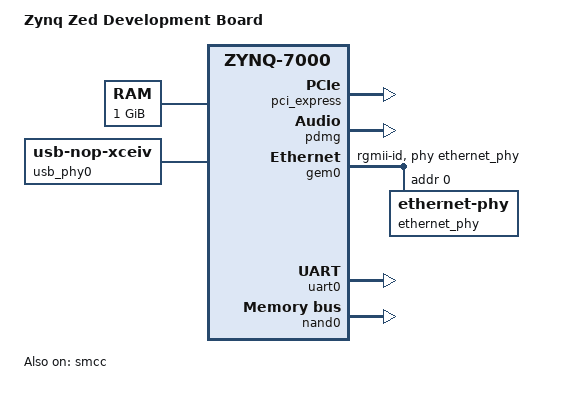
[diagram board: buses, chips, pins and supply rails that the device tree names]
/*
 *  ApisSys AV108 Device Tree
 *  2014.2 Release 
 *
 */

/dts-v1/;
/include/ "zynq-7000.dtsi"

/ {
	model = "Zynq Zed Development Board";
	compatible = "xlnx,zynq-zed", "xlnx,zynq-7000";

	aliases {
		ethernet0 = &gem0;
		/*ethernet1 = &ps7_ethernet_1;*/
		i2c0 = &i2c0;
		i2c1 = &i2c0;
		serial0 = &uart0;
	};

	memory {
		device_type = "memory";
		reg = <0x0 0x40000000>;
	};

	chosen {
		bootargs = "console=ttyPS0,115200 root=/dev/ram rw earlyprintk";
		linux,stdout-path = &uart0;
		stdout-path = &uart0;
	};

	pci_express: axi-pcie@50000000 {
		#address-cells = <3>;
		#size-cells = <2>;
		#interrupt-cells = <1>;
		compatible = "xlnx,axi-pcie-host-1.00.a";
		reg = < 0x50000000 0x10000000 >;
		device_type = "pci";
		interrupt-parent = <&intc>;
		interrupts = < 0 29 4 >;
		interrupt-map-mask = <0 0 0 7>;
		interrupt-map = <0 0 0 1 &pcie_intc 1>,
										<0 0 0 2 &pcie_intc 2>,
										<0 0 0 3 &pcie_intc 3>,
										<0 0 0 4 &pcie_intc 4>;
		ranges = < 0x02000000 0 0x60000000 0x60000000 0 0x10000000 >;

		pcie_intc: interrupt-controller {
			interrupt-controller;
			#address-cells = <0>;
			#interrupt-cells = <1>;
		};
	};

	usb_phy0: phy0 {
		compatible = "usb-nop-xceiv";
		#phy-cells = <0>;
	};
	pdmg: pdmg@0x80400000 {
		compatible = "elt,pdmg";
		reg = <0x83C20000 0x4100 0x80400000 0x100 0x80410000 0x100 >;
		interrupt-parent = <&intc>;
		interrupts = <0 32 4>, <0 33 4>;
	};
};

&clkc {
	ps-clk-frequency = <33333333>;
};

&gem0 {
	status = "okay";
	phy-mode = "rgmii-id";
	phy-handle = <&ethernet_phy>;

	ethernet_phy: ethernet-phy@0 {
		reg = <0>;
	};
};

&uart0 {
	status = "okay";
};

&smcc {
        status = "okay";
        arm,addr25 = <0x0>;
        arm,nor-chip-sel0 = <0x0>;
        arm,nor-chip-sel1 = <0x0>;
        arm,sram-chip-sel0 = <0x0>;
        arm,sram-chip-sel1 = <0x0>;
};

&nand0 {
        status = "okay";
        arm,nand-cycle-t0 = <0x4>;
        arm,nand-cycle-t1 = <0x4>;
        arm,nand-cycle-t2 = <0x1>;
        arm,nand-cycle-t3 = <0x2>;
        arm,nand-cycle-t4 = <0x2>;
        arm,nand-cycle-t5 = <0x2>;
        arm,nand-cycle-t6 = <0x4>;

        partition@nand-fsbl {
                label = "nand-fsbl";
                reg = <      0x0 0x0200000>;
        };
        partition@nand-bitstream {
                label = "nand-bitstream";
                reg = <0x0200000 0x0C00000>;
        };
        partition@nand-uboot {
                label = "nand-fsbl";
                reg = <0x0C00000 0x1000000>;
        };
        partition@nand-device-tree {
                label = "nand-device-tree";
                reg = <0x1000000 0x1100000>;
        };
        partition@nand-linux {
                label = "nand-linux";
                reg = <0x1100000 0x1500000>;
        };
        partition@nand-rootfs {
                label = "nand-rootfs";
                reg = <0x1500000 0x1E00000>;
        };
        partition@nand-fs {
                label = "nand-fs";
                reg = <0x1E00000 >;
        };
};


